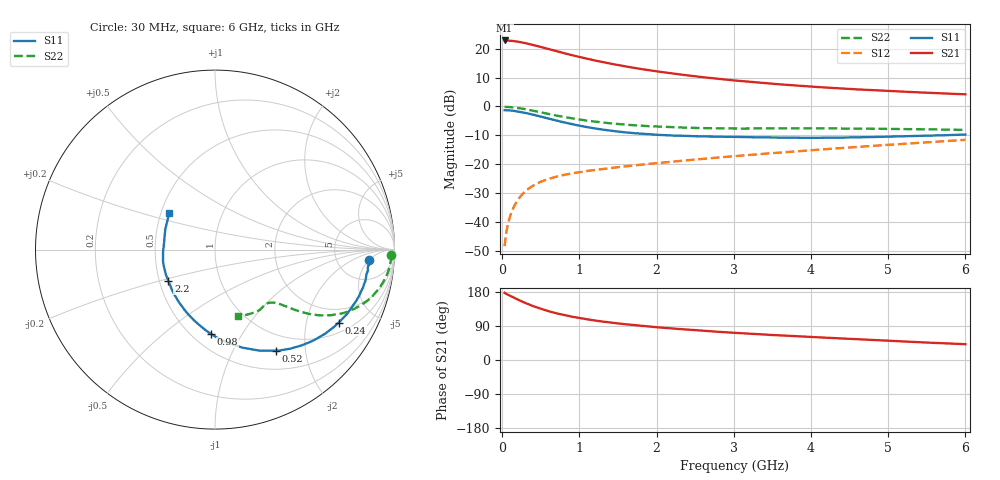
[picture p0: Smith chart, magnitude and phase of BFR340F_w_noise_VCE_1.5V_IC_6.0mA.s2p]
! Infineon Technologies  Discrete & RF Semiconductors
! BFR340F
! VCE =  1.5 V,  IC =  6.0 mA
! Common Emitter S-Parameters:  Nov 2015
# GHz  S  MA  R  50
!  f  S11  S21  S12  S22
! GHz  MAG  ANG  MAG  ANG  MAG  ANG  MAG  ANG
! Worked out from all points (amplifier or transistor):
!   206 points, 30 MHz to 6 GHz, reference 50 ohm
!   highest |S21| = 22.9 dB at 30 MHz (marker M1)
!   |S21| within 3 dB of that: start of sweep to 603.4 MHz
!   unconditionally stable (mu >= 1): 2.421 GHz to 5.765 GHz
!   at 200 MHz: K = 0.15, MSG = 27.4 dB, |S12| = -32.4 dB
!   at 1.56 GHz: K = 0.84, MSG = 17.4 dB, |S12| = -20.8 dB
!   at 6 GHz: K = 0.99, MSG = 7.9 dB, |S12| = -11.6 dB
!   lowest NFmin = 1.17 dB at 450 MHz
!   S11 on the Smith chart (normalised r, x): 30 MHz: 11, -5; 240 MHz: 1.37, -3.11; 520 MHz: 0.76, -1.49; 980 MHz: 0.62, -0.74; 2.2 GHz: 0.56, -0.22; 6 GHz: 0.55, +0.25
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0.03  0.8614 -3.9  13.9 177.2  0.0038 87.6  0.9834 -1.9
0.05  0.8567 -6.5  13.82 174.3  0.0064 87.9  0.9822 -3.3
0.07  0.8551 -9.3  13.88 172.4  0.0087 85.2  0.9801 -4.7
0.14  0.8424 -18.2  13.62 165.4  0.0171 80.7  0.9635 -9.4
0.24  0.8006 -30.5  12.97 155.7  0.0281 74.5  0.9238 -15.4
0.36  0.7412 -43.7  11.97 145.2  0.0393 68.5  0.8636 -21.4
0.45  0.6936 -52.7  11.16 138.4  0.0462 65.1  0.8164 -25.1
0.52  0.6559 -59.0  10.53 133.8  0.0509 62.8  0.7801 -27.3
0.6  0.6159 -66.1  9.868 128.6  0.0556 60.7  0.7407 -29.6
0.7  0.5699 -73.9  9.077 123.2  0.0608 58.8  0.6961 -31.8
0.8  0.5296 -81.1  8.364 118.5  0.0652 57.4  0.657 -33.5
0.98  0.4698 -92.8  7.298 111.4  0.0721 55.8  0.599 -35.7
1.04  0.4533 -96.3  6.988 109.3  0.0742 55.6  0.583 -36.2
1.2  0.4162 -105.2  6.256 104.2  0.0795 55.2  0.5451 -37.4
1.42  0.3782 -116.2  5.453 98.3  0.0863 55.3  0.5067 -38.6
1.68  0.3472 -127.7  4.724 92.5  0.0943 56.0  0.4748 -39.9
2.02  0.3221 -140.0  4.021 86.2  0.1048 57.3  0.4479 -41.5
2.2  0.3137 -146.0  3.723 83.2  0.1105 58.0  0.4377 -42.4
3.1  0.295 -168.8  2.751 70.7  0.1409 60.8  0.4146 -48.0
4.1  0.2863 172.6  2.162 59.8  0.1785 62.6  0.4179 -53.8
5.1  0.3013 155.5  1.828 49.9  0.2207 62.8  0.4068 -62.0
6  0.3259 141.3  1.622 41.7  0.264 61.9  0.3922 -70.6
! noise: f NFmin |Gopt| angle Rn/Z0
0.45  1.17  0.43  2  0.31
0.9  1.18  0.43  11  0.34
1.9  1.43  0.3  17  0.31
2.4  1.55  0.26  27  0.31
